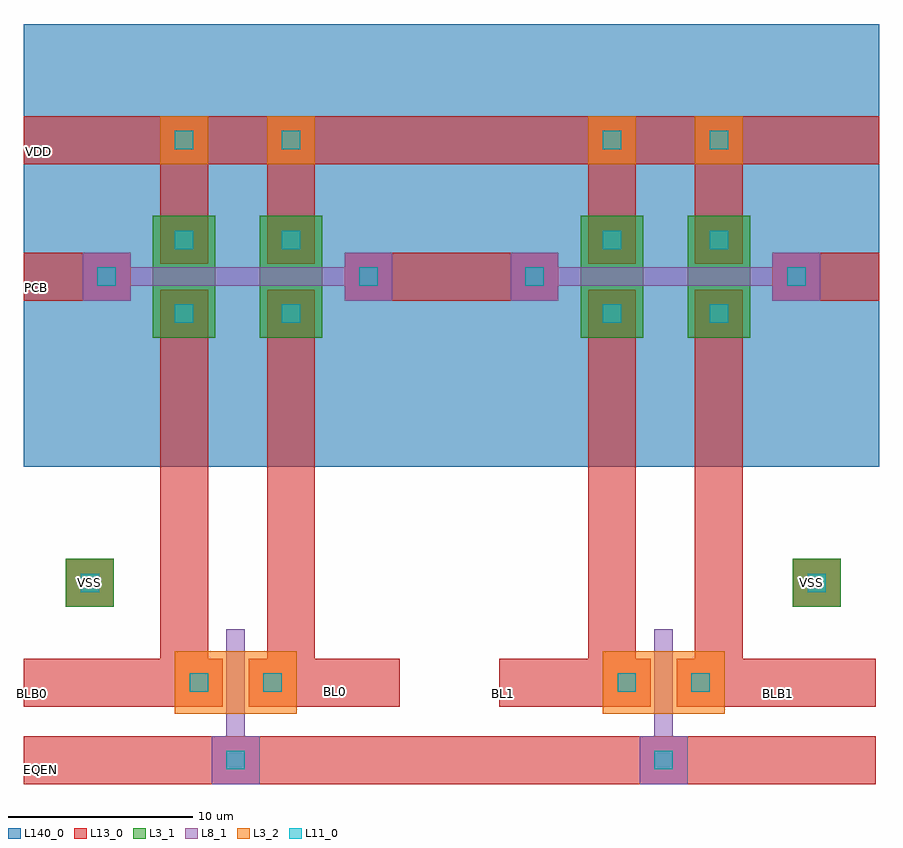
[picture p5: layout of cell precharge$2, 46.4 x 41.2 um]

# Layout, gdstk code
from math import pi, radians
import gdstk
lib = gdstk.Library(unit=1e-6, precision=1e-09)
def R(c, l, rs):  # rectangles x0, y0, x1, y1
    for r in rs: c.add(gdstk.rectangle(r[:2], r[2:], *l))
L3_1 = (3, 1)
L3_2 = (3, 2)
L8_1 = (8, 1)
L11_0 = (11, 0)
L13_0 = (13, 0)
L140_0 = (140, 0)

fet_p_1_2 = lib.new_cell('fet_p$1$2')
R(fet_p_1_2, L3_1, [(-3.3,-1.7,3.3,1.7)])
R(fet_p_1_2, L11_0, [(-2.5,-0.5,-1.5,0.5), (1.5,-0.5,2.5,0.5)])
R(fet_p_1_2, L13_0, [(-3.3,-1.3,-0.7,1.3), (0.7,-1.3,3.3,1.3)])
fet_p_1_2.add(gdstk.FlexPath([(0,-2.9),(0,2.9)], 1, ends="flush", simple_path=True, layer=8, datatype=1))  # L8_1

fet_n_2_3 = lib.new_cell('fet_n$2$3')
R(fet_n_2_3, L3_2, [(-3.3,-1.7,3.3,1.7)])
R(fet_n_2_3, L11_0, [(-2.5,-0.5,-1.5,0.5), (1.5,-0.5,2.5,0.5)])
R(fet_n_2_3, L13_0, [(-3.3,-1.3,-0.7,1.3), (0.7,-1.3,3.3,1.3)])
fet_n_2_3.add(gdstk.FlexPath([(0,-2.9),(0,2.9)], 1, ends="flush", simple_path=True, layer=8, datatype=1))  # L8_1

cont_g_1_2 = lib.new_cell('cont_g$1$2')
R(cont_g_1_2, L8_1, [(-1.3,-1.3,1.3,1.3)])
R(cont_g_1_2, L11_0, [(-0.5,-0.5,0.5,0.5)])
R(cont_g_1_2, L13_0, [(-1.3,-1.3,1.3,1.3)])

cont_n_1_2 = lib.new_cell('cont_n$1$2')
R(cont_n_1_2, L3_2, [(-1.3,-1.3,1.3,1.3)])
R(cont_n_1_2, L11_0, [(-0.5,-0.5,0.5,0.5)])
R(cont_n_1_2, L13_0, [(-1.3,-1.3,1.3,1.3)])

cont_p_1_2 = lib.new_cell('cont_p$1$2')
R(cont_p_1_2, L3_1, [(-1.3,-1.3,1.3,1.3)])
R(cont_p_1_2, L11_0, [(-0.5,-0.5,0.5,0.5)])
R(cont_p_1_2, L13_0, [(-1.3,-1.3,1.3,1.3)])

precharge_2 = lib.new_cell('precharge$2')
R(precharge_2, L13_0, [(-8.7,-27.5,37.5,-24.9), (-8.7,-23.3,-0.5,-20.7), (-1.3,-23.3,1.3,-3.3), (3.5,-23.3,11.7,-20.7), (4.5,-23.3,7.1,-3.3), (17.1,-23.3,25.3,-20.7), (21.9,-23.3,24.5,-3.3), (27.7,-23.3,30.3,-3.3), (29.3,-23.3,37.5,-20.7), (-8.7,-1.3,-5.5,1.3), (11.3,-1.3,17.7,1.3), (34.5,-1.3,37.7,1.3), (-1.3,3.3,1.3,6.1), (4.5,3.3,7.1,6.1), (21.9,3.3,24.5,6.1), (27.7,3.3,30.3,6.1), (-8.7,6.1,14.5,8.7), (14.5,6.1,37.7,8.7)])
R(precharge_2, L140_0, [(-8.7,-10.3,14.5,13.7), (14.5,-10.3,37.7,13.7)])
precharge_2.add(gdstk.Reference(fet_p_1_2, (0,0), rotation=pi/2, x_reflection=True))
precharge_2.add(gdstk.Reference(fet_p_1_2, (5.8,0), rotation=pi/2, x_reflection=True))
precharge_2.add(gdstk.Reference(fet_n_2_3, (2.8,-22), x_reflection=True))
precharge_2.add(gdstk.Reference(cont_g_1_2, (2.8,-26.2), x_reflection=True))
precharge_2.add(gdstk.Reference(cont_g_1_2, (-4.2,0), x_reflection=True))
precharge_2.add(gdstk.Reference(cont_g_1_2, (10,0), x_reflection=True))
precharge_2.add(gdstk.Reference(cont_n_1_2, (0,7.4), x_reflection=True))
precharge_2.add(gdstk.Reference(cont_n_1_2, (5.8,7.4), x_reflection=True))
precharge_2.add(gdstk.Reference(fet_p_1_2, (23.2,0), rotation=pi/2, x_reflection=True))
precharge_2.add(gdstk.Reference(fet_p_1_2, (29,0), rotation=pi/2, x_reflection=True))
precharge_2.add(gdstk.Reference(fet_n_2_3, (26,-22), x_reflection=True))
precharge_2.add(gdstk.Reference(cont_g_1_2, (26,-26.2), x_reflection=True))
precharge_2.add(gdstk.Reference(cont_g_1_2, (19,0), x_reflection=True))
precharge_2.add(gdstk.Reference(cont_g_1_2, (33.2,0), x_reflection=True))
precharge_2.add(gdstk.Reference(cont_n_1_2, (23.2,7.4), x_reflection=True))
precharge_2.add(gdstk.Reference(cont_n_1_2, (29,7.4), x_reflection=True))
precharge_2.add(gdstk.Reference(cont_p_1_2, (-5.1,-16.6), x_reflection=True))
precharge_2.add(gdstk.Reference(cont_p_1_2, (34.3,-16.6), x_reflection=True))
precharge_2.add(gdstk.Label('VSS', (34,-16.6), layer=48, texttype=0))
precharge_2.add(gdstk.Label('BLB0', (-8.2,-22.6), layer=48, texttype=0))
precharge_2.add(gdstk.Label('BL0', (8.2,-22.5), layer=48, texttype=0))
precharge_2.add(gdstk.Label('VDD', (-7.9,6.8), layer=48, texttype=0))
precharge_2.add(gdstk.Label('PCB', (-8,-0.6), layer=48, texttype=0))
precharge_2.add(gdstk.Label('VSS', (-5.1,-16.6), layer=48, texttype=0))
precharge_2.add(gdstk.Label('BL1', (17.3,-22.6), layer=48, texttype=0))
precharge_2.add(gdstk.Label('BLB1', (32.2,-22.6), layer=48, texttype=0))
precharge_2.add(gdstk.Label('EQEN', (-7.8,-26.7), layer=48, texttype=0))

lib.write_gds('precharge_2.gds')
